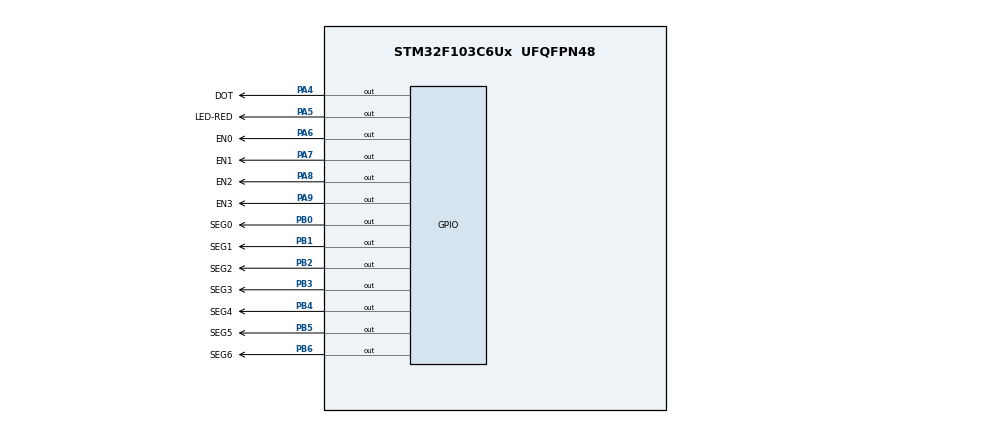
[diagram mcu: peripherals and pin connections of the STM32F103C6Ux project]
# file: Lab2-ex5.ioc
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Mcu.Family=STM32F1
Mcu.Name=STM32F103C6Ux
Mcu.Package=UFQFPN48
NVIC.PriorityGroup=NVIC_PRIORITYGROUP_4
NVIC.TIM2_IRQn=true\:0\:0\:false\:false\:true\:true\:true
PA4.GPIO_Label=DOT 
PA4.Signal=GPIO_Output
PA5.GPIO_Label=LED-RED
PA5.Signal=GPIO_Output
PA6.GPIO_Label=EN0
PA6.Signal=GPIO_Output
PA7.GPIO_Label=EN1
PA7.Signal=GPIO_Output
PA8.GPIO_Label=EN2
PA8.Signal=GPIO_Output
PA9.GPIO_Label=EN3
PA9.Signal=GPIO_Output
PB0.GPIO_Label=SEG0
PB0.Signal=GPIO_Output
PB1.GPIO_Label=SEG1
PB1.Signal=GPIO_Output
PB2.GPIO_Label=SEG2
PB2.Signal=GPIO_Output
PB3.GPIO_Label=SEG3
PB3.Signal=GPIO_Output
PB4.GPIO_Label=SEG4
PB4.Signal=GPIO_Output
PB5.GPIO_Label=SEG5
PB5.Signal=GPIO_Output
PB6.GPIO_Label=SEG6
PB6.Signal=GPIO_Output
ProjectManager.HeapSize=0x200
ProjectManager.StackSize=0x400
ProjectManager.TargetToolchain=STM32CubeIDE
RCC.APB1Freq_Value=8000000
RCC.APB2Freq_Value=8000000
TIM2.Period=9
TIM2.Prescaler=7999
VP_SYS_VS_ND.Mode=No_Debug
VP_TIM2_VS_ClockSourceINT.Mode=Internal
board=custom

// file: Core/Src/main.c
/* USER CODE BEGIN Header */
/**
  ******************************************************************************
  * @file           : main.c
  * @brief          : Main program body
  ******************************************************************************
  * @attention
  *
  * <h2><center>&copy; Copyright (c) 2025 STMicroelectronics.
  * All rights reserved.</center></h2>
  *
  * This software component is licensed by ST under BSD 3-Clause license,
  * the "License"; You may not use this file except in compliance with the
  * License. You may obtain a copy of the License at:
  *                        opensource.org/licenses/BSD-3-Clause
  *
  ******************************************************************************
  */
/* USER CODE END Header */
#include "main.h"

TIM_HandleTypeDef htim2;

/* USER CODE BEGIN PV */
int led_buffer[4] = {1, 5, 0, 8};
int hour = 15 , minute = 8 , second = 50;
/* USER CODE END PV */

void SystemClock_Config(void);
static void MX_GPIO_Init(void);
static void MX_TIM2_Init(void);

/* USER CODE BEGIN 0 */
void updateClockBuffer ();
void display7SEG(int num) {
    // Turn off all segment
    HAL_GPIO_WritePin(GPIOB, SEG0_Pin|SEG1_Pin|SEG2_Pin|SEG3_Pin|SEG4_Pin|SEG5_Pin|SEG6_Pin, GPIO_PIN_SET);

    switch (num) {
        case 0:
            HAL_GPIO_WritePin(GPIOB, SEG0_Pin|SEG1_Pin|SEG2_Pin|SEG3_Pin|SEG4_Pin|SEG5_Pin, GPIO_PIN_RESET);
            break;
        case 1:
            HAL_GPIO_WritePin(GPIOB, SEG1_Pin|SEG2_Pin, GPIO_PIN_RESET);
            break;
        case 2:
            HAL_GPIO_WritePin(GPIOB, SEG0_Pin|SEG1_Pin|SEG3_Pin|SEG4_Pin|SEG6_Pin, GPIO_PIN_RESET);
            break;
        case 3:
            HAL_GPIO_WritePin(GPIOB, SEG0_Pin|SEG1_Pin|SEG2_Pin|SEG3_Pin|SEG6_Pin, GPIO_PIN_RESET);
            break;
        case 4:
            HAL_GPIO_WritePin(GPIOB, SEG1_Pin|SEG2_Pin|SEG5_Pin|SEG6_Pin, GPIO_PIN_RESET);
            break;
        case 5:
            HAL_GPIO_WritePin(GPIOB, SEG0_Pin|SEG2_Pin|SEG3_Pin|SEG5_Pin|SEG6_Pin, GPIO_PIN_RESET);
            break;
        case 6:
            HAL_GPIO_WritePin(GPIOB, SEG0_Pin|SEG2_Pin|SEG3_Pin|SEG4_Pin|SEG5_Pin|SEG6_Pin, GPIO_PIN_RESET);
            break;
        case 7:
            HAL_GPIO_WritePin(GPIOB, SEG0_Pin|SEG1_Pin|SEG2_Pin, GPIO_PIN_RESET);
            break;
        case 8:
            HAL_GPIO_WritePin(GPIOB, SEG0_Pin|SEG1_Pin|SEG2_Pin|SEG3_Pin|SEG4_Pin|SEG5_Pin|SEG6_Pin, GPIO_PIN_RESET);
            break;
        case 9:
            HAL_GPIO_WritePin(GPIOB, SEG0_Pin|SEG1_Pin|SEG2_Pin|SEG3_Pin|SEG5_Pin|SEG6_Pin, GPIO_PIN_RESET);
            break;
    }
}

void update7SEG(int index){
	HAL_GPIO_WritePin(EN0_GPIO_Port, EN0_Pin, GPIO_PIN_RESET);
	HAL_GPIO_WritePin(EN1_GPIO_Port, EN1_Pin, GPIO_PIN_RESET);
	HAL_GPIO_WritePin(EN2_GPIO_Port, EN2_Pin, GPIO_PIN_RESET);
	HAL_GPIO_WritePin(EN3_GPIO_Port, EN3_Pin, GPIO_PIN_RESET);
    switch (index){
        case 0:
            //Display the first 7SEG with led_buffer[0]
            display7SEG(led_buffer[0]);
            HAL_GPIO_WritePin(EN0_GPIO_Port, EN0_Pin, GPIO_PIN_RESET);
            break;
        case 1:
            //Display the second 7SEG with led_buffer[1]
            display7SEG(led_buffer[1]);
            HAL_GPIO_WritePin(EN1_GPIO_Port, EN1_Pin, GPIO_PIN_RESET);
            break;
        case 2:
            //Display the third 7SEG with led_buffer[2]
            display7SEG(led_buffer[2]);
            HAL_GPIO_WritePin(EN2_GPIO_Port, EN2_Pin, GPIO_PIN_RESET);
            break;
        case 3:
            //Display the forth 7SEG with led_buffer[3]
            display7SEG(led_buffer[3]);
            HAL_GPIO_WritePin(EN3_GPIO_Port, EN3_Pin, GPIO_PIN_RESET);
            break;
        default:
            break;
    }
}
/* USER CODE END 0 */

int main(void)
{

  /* MCU Configuration--------------------------------------------------------*/

  /* Reset of all peripherals, Initializes the Flash interface and the Systick. */
  HAL_Init();

  /* Configure the system clock */
  SystemClock_Config();

  /* Initialize all configured peripherals */
  MX_GPIO_Init();
  MX_TIM2_Init();

  /* Infinite loop */
  /* USER CODE BEGIN WHILE */
  while (1) {
          // --- CẬP NHẬT LOGIC ĐỒNG HỒ ---
          second++;
          if (second >= 60) {
              second = 0;
              minute++;
          }
          if (minute >= 60) {
              minute = 0;
              hour++;
          }
          if (hour >= 24) {
              hour = 0;
          }

          // Cập nhật giá trị vào mảng đệm để chuẩn bị hiển thị
          updateClockBuffer();

          // --- QUÉT 4 LED 7 ĐOẠN (TỔNG DELAY = 1000ms) ---
          update7SEG(0);
          HAL_Delay(250);

          update7SEG(1);
          HAL_Delay(250);

          update7SEG(2);
          HAL_Delay(250);

          update7SEG(3);
          HAL_Delay(250);
      }
  /* USER CODE END 3 */
}

void SystemClock_Config(void)
{
  RCC_OscInitTypeDef RCC_OscInitStruct = {0};
  RCC_ClkInitTypeDef RCC_ClkInitStruct = {0};

  /** Initializes the RCC Oscillators according to the specified parameters
  * in the RCC_OscInitTypeDef structure.
  */
  RCC_OscInitStruct.OscillatorType = RCC_OSCILLATORTYPE_HSI;
  RCC_OscInitStruct.HSIState = RCC_HSI_ON;
  RCC_OscInitStruct.HSICalibrationValue = RCC_HSICALIBRATION_DEFAULT;
  RCC_OscInitStruct.PLL.PLLState = RCC_PLL_NONE;
  if (HAL_RCC_OscConfig(&RCC_OscInitStruct) != HAL_OK)
  {
    Error_Handler();
  }
  /** Initializes the CPU, AHB and APB buses clocks
  */
  RCC_ClkInitStruct.ClockType = RCC_CLOCKTYPE_HCLK|RCC_CLOCKTYPE_SYSCLK
                              |RCC_CLOCKTYPE_PCLK1|RCC_CLOCKTYPE_PCLK2;
  RCC_ClkInitStruct.SYSCLKSource = RCC_SYSCLKSOURCE_HSI;
  RCC_ClkInitStruct.AHBCLKDivider = RCC_SYSCLK_DIV1;
  RCC_ClkInitStruct.APB1CLKDivider = RCC_HCLK_DIV1;
  RCC_ClkInitStruct.APB2CLKDivider = RCC_HCLK_DIV1;

  if (HAL_RCC_ClockConfig(&RCC_ClkInitStruct, FLASH_LATENCY_0) != HAL_OK)
  {
    Error_Handler();
  }
}

static void MX_TIM2_Init(void)
{

  TIM_ClockConfigTypeDef sClockSourceConfig = {0};
  TIM_MasterConfigTypeDef sMasterConfig = {0};

  htim2.Instance = TIM2;
  htim2.Init.Prescaler = 7999;
  htim2.Init.CounterMode = TIM_COUNTERMODE_UP;
  htim2.Init.Period = 9;
  htim2.Init.ClockDivision = TIM_CLOCKDIVISION_DIV1;
  htim2.Init.AutoReloadPreload = TIM_AUTORELOAD_PRELOAD_DISABLE;
  if (HAL_TIM_Base_Init(&htim2) != HAL_OK)
  {
    Error_Handler();
  }
  sClockSourceConfig.ClockSource = TIM_CLOCKSOURCE_INTERNAL;
  if (HAL_TIM_ConfigClockSource(&htim2, &sClockSourceConfig) != HAL_OK)
  {
    Error_Handler();
  }
  sMasterConfig.MasterOutputTrigger = TIM_TRGO_RESET;
  sMasterConfig.MasterSlaveMode = TIM_MASTERSLAVEMODE_DISABLE;
  if (HAL_TIMEx_MasterConfigSynchronization(&htim2, &sMasterConfig) != HAL_OK)
  {
    Error_Handler();
  }

}

static void MX_GPIO_Init(void)
{
  GPIO_InitTypeDef GPIO_InitStruct = {0};

  /* GPIO Ports Clock Enable */
  __HAL_RCC_GPIOA_CLK_ENABLE();
  __HAL_RCC_GPIOB_CLK_ENABLE();

  /*Configure GPIO pin Output Level */
  HAL_GPIO_WritePin(GPIOA, DOT_Pin|LED_RED_Pin|EN0_Pin|EN1_Pin
                          |EN2_Pin|EN3_Pin, GPIO_PIN_RESET);

  /*Configure GPIO pin Output Level */
  HAL_GPIO_WritePin(GPIOB, SEG0_Pin|SEG1_Pin|SEG2_Pin|SEG3_Pin
                          |SEG4_Pin|SEG5_Pin|SEG6_Pin, GPIO_PIN_RESET);

  /*Configure GPIO pins : DOT_Pin LED_RED_Pin EN0_Pin EN1_Pin
                           EN2_Pin EN3_Pin */
  GPIO_InitStruct.Pin = DOT_Pin|LED_RED_Pin|EN0_Pin|EN1_Pin
                          |EN2_Pin|EN3_Pin;
  GPIO_InitStruct.Mode = GPIO_MODE_OUTPUT_PP;
  GPIO_InitStruct.Pull = GPIO_NOPULL;
  GPIO_InitStruct.Speed = GPIO_SPEED_FREQ_LOW;
  HAL_GPIO_Init(GPIOA, &GPIO_InitStruct);

  /*Configure GPIO pins : SEG0_Pin SEG1_Pin SEG2_Pin SEG3_Pin
                           SEG4_Pin SEG5_Pin SEG6_Pin */
  GPIO_InitStruct.Pin = SEG0_Pin|SEG1_Pin|SEG2_Pin|SEG3_Pin
                          |SEG4_Pin|SEG5_Pin|SEG6_Pin;
  GPIO_InitStruct.Mode = GPIO_MODE_OUTPUT_PP;
  GPIO_InitStruct.Pull = GPIO_NOPULL;
  GPIO_InitStruct.Speed = GPIO_SPEED_FREQ_LOW;
  HAL_GPIO_Init(GPIOB, &GPIO_InitStruct);

}

/* USER CODE BEGIN 4 */
void updateClockBuffer() {
	led_buffer[0] = hour / 10;
	led_buffer[1] = hour % 10;
	led_buffer[2] = minute / 10;
	led_buffer[3] = minute % 10;
}
/* USER CODE END 4 */

void Error_Handler(void)
{
  __disable_irq();
  while (1)
  {
  }
}

/************************ (C) COPYRIGHT STMicroelectronics *****END OF FILE****/
